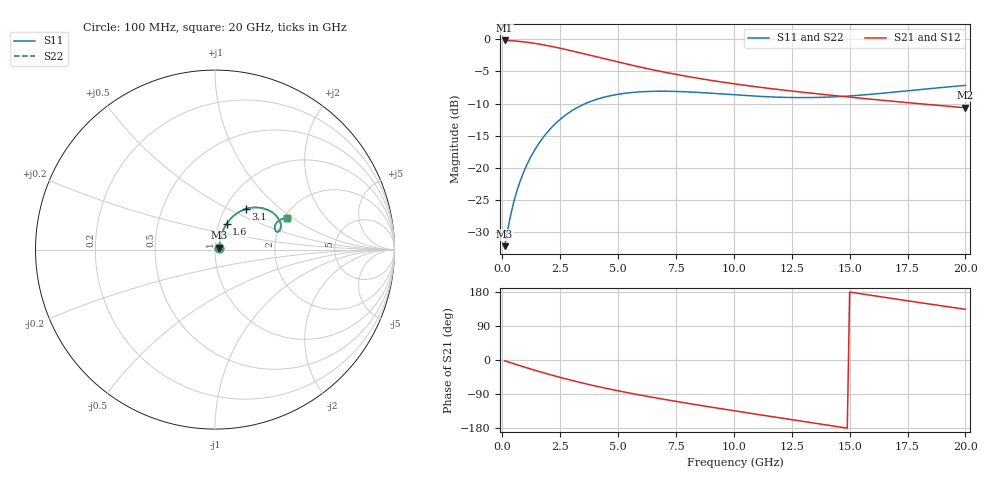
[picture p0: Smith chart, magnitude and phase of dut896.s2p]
! Touchstone file exported from HFSS 2024.1.0
!  File:  C:/UserFiles/LocalFiles/RDL_TSV_Batchsim/temp_RDL_TSV_896_1779933753.aedt
!  Generated:  10:15:58 AM May 28, 2026
!  Design:  RDL_TSV
!  Project:  temp_RDL_TSV_896_1779933753
!  Setup:  Setup1
!  Solution:  Sweep
! Variables:
!  dtsv = 8.8um
!  hbump = 3um
!  htsv = 65.36um
!  ldown = 306.92um
!  lrdl = 615.05um
!  p = 40
!  p1 = 58.77um
!  rhole = 10um
!  subl = 3380.96um
!  t = 450um
!  tdown = 3.58um
!  trdl = 3.72um
!  viad = 10um
!  wdown = 13.02um
!  wrdl = 15.41um
!  xbump = 18um
# GHz S MA R 50.000000
! Terminal data exported
! Port[1] = TM1_1_T1
! Port[2] = TM1_4_T1
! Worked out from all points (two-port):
!   200 points, 100 MHz to 20 GHz, reference 50 ohm
!   highest |S21| = -0.20 dB at 100 MHz (marker M1); lowest = -10.7 dB at 20 GHz (marker M2)
!   |S21| within 3 dB of the highest: start of sweep to 4.584 GHz
!   lowest |S11| = -32.2 dB at 100 MHz (marker M3), VSWR 1.05, Z = 52.3 + j1.03 ohm
!   |S11| at or under -10 dB: start of sweep to 3.597 GHz
!   |S22| runs from -32.2 to -7.2 dB; largest |S21 - S12| = 9.7e-14
!   S11 on the Smith chart (normalised r, x): 100 MHz: 1.05, +0.02; 1.6 GHz: 1.09, +0.32; 3.1 GHz: 1.25, +0.62; 20 GHz: 2.08, +0.90
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0.1  0.02462 23.6  0.9773 -2.0  0.9773 -2.0  0.02462 23.6
! Gamma 0 0 0 0
! Port Impedance 50 0 50 0
0.4  0.04608 55.5  0.9719 -8.0  0.9719 -8.0  0.04608 55.5
0.5  0.05456 59.5  0.9692 -9.9  0.9692 -9.9  0.05456 59.5
0.7  0.07222 64.1  0.9625 -13.8  0.9625 -13.8  0.07221 64.1
0.9  0.09051 66.3  0.9544 -17.6  0.9544 -17.6  0.09051 66.3
1.1  0.1092 67.0  0.9448 -21.4  0.9448 -21.4  0.1092 67.1
1.6  0.1569 65.8  0.9155 -30.6  0.9155 -30.6  0.1569 65.8
2.3  0.2213 60.4  0.8656 -42.7  0.8656 -42.7  0.2214 60.5
3.1  0.2847 52.6  0.8031 -55.4  0.8031 -55.4  0.2849 52.7
3.5  0.3106 48.7  0.7718 -61.3  0.7718 -61.3  0.3109 48.7
4.2  0.3462 42.1  0.7191 -71.0  0.7191 -71.0  0.3466 42.2
5.1  0.3755 34.6  0.6576 -82.5  0.6576 -82.5  0.376 34.7
5.9  0.3891 29.1  0.6098 -91.9  0.6098 -91.9  0.3896 29.2
6.8  0.394 24.2  0.5636 -101.8  0.5636 -101.8  0.3946 24.3
8.4  0.3863 18.3  0.4987 -118.3  0.4987 -118.3  0.387 18.4
10.1  0.3689 15.9  0.4476 -134.8  0.4476 -134.8  0.3697 16.0
11.7  0.3553 16.5  0.4109 -150.0  0.4109 -150.0  0.356 16.6
13.4  0.3519 19.2  0.3796 -165.9  0.3796 -165.9  0.3527 19.3
15  0.362 22.1  0.3546 179.2  0.3546 179.2  0.3629 22.2
16.7  0.3842 24.2  0.3314 163.6  0.3314 163.6  0.3852 24.3
18.4  0.4119 24.5  0.3106 148.1  0.3106 148.1  0.413 24.6
20  0.4372 23.6  0.2932 133.8  0.2932 133.8  0.4385 23.7
